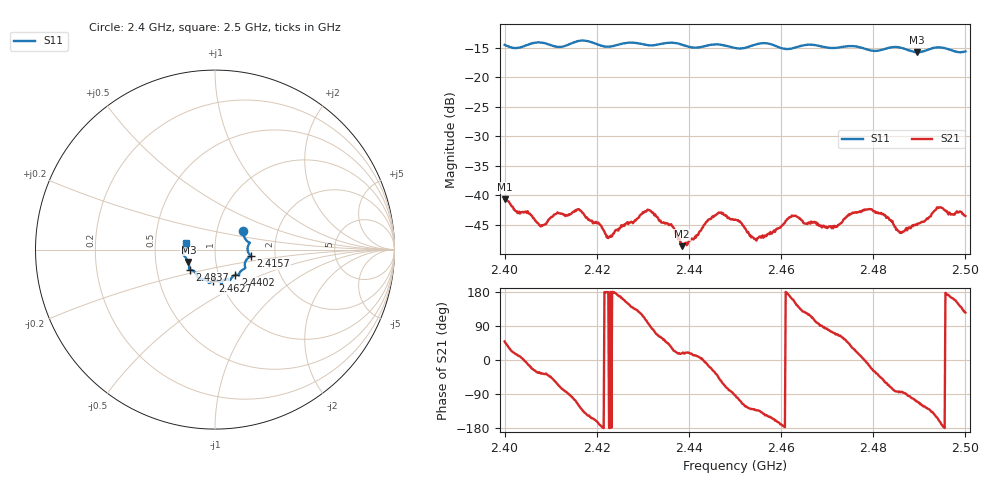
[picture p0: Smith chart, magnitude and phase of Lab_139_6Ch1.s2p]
# Hz S RI R 50
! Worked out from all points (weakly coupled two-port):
!   601 points, 2.4 GHz to 2.5 GHz, reference 50 ohm
!   highest |S21| = -40.64 dB at 2.4 GHz (marker M1); lowest = -48.6 dB at 2.4385 GHz (marker M2)
!   lowest |S11| = -15.7 dB at 2.4895 GHz (marker M3), VSWR 1.39, Z = 36.8 - j5.16 ohm
!   |S11| at or under -10 dB: start of sweep to end of sweep
!   S12 and S22 are empty: the file has one direction only
!   S11 on the Smith chart (normalised r, x): 2.4 GHz: 1.33, +0.29; 2.4157 GHz: 1.49, -0.11; 2.4402 GHz: 1.20, -0.35; 2.4627 GHz: 0.92, -0.34; 2.4837 GHz: 0.74, -0.17; 2.5 GHz: 0.72, +0.05
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2.4e9  0.1565 0.1054  0.00609 0.00701  0 0  0 0
2.408e9  0.1939 0.0378  0.00458 -0.00319  0 0  0 0
2.415667e9  0.199 -0.0364  -0.00293 -0.00699  0 0  0 0
2.416667e9  0.2017 -0.0397  -0.00466 -0.00567  0 0  0 0
2.422667e9  0.168 -0.0709  -0.00443 -3.26e-05  0 0  0 0
2.430833e9  0.1484 -0.1159  -0.00165 0.0072  0 0  0 0
2.433333e9  0.1355 -0.1336  0.0028 0.00576  0 0  0 0
2.4385e9  0.1271 -0.1405  0.00354 0.00112  0 0  0 0
2.440167e9  0.1142 -0.1405  0.00394 0.00126  0 0  0 0
2.4465e9  0.0845 -0.1706  0.00484 -0.00531  0 0  0 0
2.45e9  0.0642 -0.1658  -0.000278 -0.00626  0 0  0 0
2.4545e9  0.0373 -0.1867  -0.00282 -0.00313  0 0  0 0
2.462667e9  -0.0116 -0.177  -0.00623 0.00246  0 0  0 0
2.466667e9  -0.0329 -0.1866  -0.00221 0.00554  0 0  0 0
2.4715e9  -0.0628 -0.1662  0.00179 0.00523  0 0  0 0
2.478833e9  -0.1037 -0.1371  0.00752 -0.0013  0 0  0 0
2.483333e9  -0.1383 -0.112  0.00263 -0.00591  0 0  0 0
2.483667e9  -0.1401 -0.1118  0.00201 -0.00585  0 0  0 0
2.486e9  -0.1446 -0.1049  0.000424 -0.00487  0 0  0 0
2.4895e9  -0.1485 -0.0683  -0.00182 -0.00532  0 0  0 0
2.494333e9  -0.1785 -0.0243  -0.00744 -0.00263  0 0  0 0
2.5e9  -0.1626 0.0361  -0.00385 0.00548  0 0  0 0
